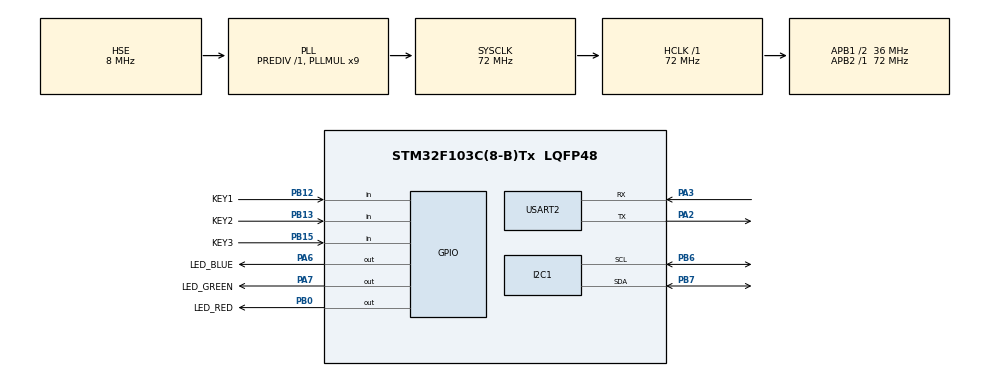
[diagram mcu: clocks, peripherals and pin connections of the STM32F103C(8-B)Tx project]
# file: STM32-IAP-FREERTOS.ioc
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FREERTOS.Tasks01=Task_LED_KEY,24,128,App_LED_KEY,Default,NULL,Dynamic,NULL,NULL;Task_OLED,8,256,App_OLED,Default,NULL,Dynamic,NULL,NULL
FREERTOS.configUSE_NEWLIB_REENTRANT=1
I2C1.I2C_Mode=I2C_Fast
Mcu.Family=STM32F1
Mcu.Name=STM32F103C(8-B)Tx
Mcu.Package=LQFP48
NVIC.PriorityGroup=NVIC_PRIORITYGROUP_4
NVIC.TIM4_IRQn=true\:15\:0\:false\:false\:true\:false\:false\:true\:true
NVIC.TimeBase=TIM4_IRQn
NVIC.TimeBaseIP=TIM4
PA13.Mode=Serial_Wire
PA13.Signal=SYS_JTMS-SWDIO
PA14.Mode=Serial_Wire
PA14.Signal=SYS_JTCK-SWCLK
PA2.Mode=Asynchronous
PA2.Signal=USART2_TX
PA3.Mode=Asynchronous
PA3.Signal=USART2_RX
PA6.GPIO_Label=LED_BLUE
PA6.Signal=GPIO_Output
PA7.GPIO_Label=LED_GREEN
PA7.Signal=GPIO_Output
PB0.GPIO_Label=LED_RED
PB0.Signal=GPIO_Output
PB12.GPIO_Label=KEY1
PB12.Signal=GPIO_Input
PB13.GPIO_Label=KEY2
PB13.GPIO_PuPd=GPIO_PULLUP
PB13.Signal=GPIO_Input
PB15.GPIO_Label=KEY3
PB15.GPIO_PuPd=GPIO_PULLUP
PB15.Signal=GPIO_Input
PB6.Mode=I2C
PB6.Signal=I2C1_SCL
PB7.Mode=I2C
PB7.Signal=I2C1_SDA
PD0-OSC_IN.Mode=HSE-External-Oscillator
PD0-OSC_IN.Signal=RCC_OSC_IN
PD1-OSC_OUT.Mode=HSE-External-Oscillator
PD1-OSC_OUT.Signal=RCC_OSC_OUT
ProjectManager.HeapSize=0x200
ProjectManager.StackSize=0x400
ProjectManager.TargetToolchain=STM32CubeIDE
RCC.ADCPresc=RCC_ADCPCLK2_DIV6
RCC.AHBFreq_Value=72000000
RCC.APB1CLKDivider=RCC_HCLK_DIV2
RCC.APB1Freq_Value=36000000
RCC.APB1TimFreq_Value=72000000
RCC.APB2Freq_Value=72000000
RCC.APB2TimFreq_Value=72000000
RCC.HCLKFreq_Value=72000000
RCC.PLLMUL=RCC_PLL_MUL9
RCC.PLLSourceVirtual=RCC_PLLSOURCE_HSE
RCC.SYSCLKFreq_VALUE=72000000
RCC.SYSCLKSource=RCC_SYSCLKSOURCE_PLLCLK
RCC.USBFreq_Value=72000000
USART2.VirtualMode=VM_ASYNC
VP_FREERTOS_VS_CMSIS_V2.Mode=CMSIS_V2
VP_SYS_VS_tim4.Mode=TIM4
board=custom

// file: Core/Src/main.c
/* USER CODE BEGIN Header */
/**
  ******************************************************************************
  * @file           : main.c
  * @brief          : Main program body
  ******************************************************************************
  * @attention
  *
  * Copyright (c) 2025 STMicroelectronics.
  * All rights reserved.
  *
  * This software is licensed under terms that can be found in the LICENSE file
  * in the root directory of this software component.
  * If no LICENSE file comes with this software, it is provided AS-IS.
  *
  ******************************************************************************
  */
/* USER CODE END Header */
#include "main.h"
#include "cmsis_os.h"
#include "i2c.h"
#include "usart.h"
#include "gpio.h"

/* USER CODE BEGIN Includes */
#include <stdio.h>
#include <string.h>
#include "bsp_key.h"
#include "bsp_led.h"
#include "oled.h"
#include "font.h"

/* USER CODE END Includes */

void SystemClock_Config(void);
void MX_FREERTOS_Init(void);

int main(void)
{

  /* USER CODE BEGIN 1 */
  // 🔄 重新启用SysTick中断，确保应用程序能使用HAL_Delay
  __enable_irq();
  /* USER CODE END 1 */

  /* MCU Configuration--------------------------------------------------------*/

  /* Reset of all peripherals, Initializes the Flash interface and the Systick. */
  HAL_Init();

  /* Configure the system clock */
  SystemClock_Config();

  /* Initialize all configured peripherals */
  MX_GPIO_Init();
  MX_USART2_UART_Init();
  MX_I2C1_Init();
  /* USER CODE BEGIN 2 */
//  HAL_Delay(20); // 单片机启动比OLED上电快,需要延迟等待一下
//  OLED_Init();
  /* USER CODE END 2 */

  /* Init scheduler */
  osKernelInitialize();  /* Call init function for freertos objects (in cmsis_os2.c) */
  MX_FREERTOS_Init();

  /* Start scheduler */
  osKernelStart();

  /* We should never get here as control is now taken by the scheduler */

  /* Infinite loop */
  while (1)
  {

  }
}

void SystemClock_Config(void)
{
  RCC_OscInitTypeDef RCC_OscInitStruct = {0};
  RCC_ClkInitTypeDef RCC_ClkInitStruct = {0};

  /** Initializes the RCC Oscillators according to the specified parameters
  * in the RCC_OscInitTypeDef structure.
  */
  RCC_OscInitStruct.OscillatorType = RCC_OSCILLATORTYPE_HSE;
  RCC_OscInitStruct.HSEState = RCC_HSE_ON;
  RCC_OscInitStruct.HSEPredivValue = RCC_HSE_PREDIV_DIV1;
  RCC_OscInitStruct.HSIState = RCC_HSI_ON;
  RCC_OscInitStruct.PLL.PLLState = RCC_PLL_ON;
  RCC_OscInitStruct.PLL.PLLSource = RCC_PLLSOURCE_HSE;
  RCC_OscInitStruct.PLL.PLLMUL = RCC_PLL_MUL9;
  if (HAL_RCC_OscConfig(&RCC_OscInitStruct) != HAL_OK)
  {
    Error_Handler();
  }

  /** Initializes the CPU, AHB and APB buses clocks
  */
  RCC_ClkInitStruct.ClockType = RCC_CLOCKTYPE_HCLK|RCC_CLOCKTYPE_SYSCLK
                              |RCC_CLOCKTYPE_PCLK1|RCC_CLOCKTYPE_PCLK2;
  RCC_ClkInitStruct.SYSCLKSource = RCC_SYSCLKSOURCE_PLLCLK;
  RCC_ClkInitStruct.AHBCLKDivider = RCC_SYSCLK_DIV1;
  RCC_ClkInitStruct.APB1CLKDivider = RCC_HCLK_DIV2;
  RCC_ClkInitStruct.APB2CLKDivider = RCC_HCLK_DIV1;

  if (HAL_RCC_ClockConfig(&RCC_ClkInitStruct, FLASH_LATENCY_2) != HAL_OK)
  {
    Error_Handler();
  }
}

void HAL_TIM_PeriodElapsedCallback(TIM_HandleTypeDef *htim)
{
  if (htim->Instance == TIM4)
  {
    HAL_IncTick();
  }
}

void Error_Handler(void)
{
  __disable_irq();
  while (1)
  {
  }
}

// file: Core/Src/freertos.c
/* USER CODE BEGIN Header */
/**
  ******************************************************************************
  * File Name          : freertos.c
  * Description        : Code for freertos applications
  ******************************************************************************
  * @attention
  *
  * Copyright (c) 2025 STMicroelectronics.
  * All rights reserved.
  *
  * This software is licensed under terms that can be found in the LICENSE file
  * in the root directory of this software component.
  * If no LICENSE file comes with this software, it is provided AS-IS.
  *
  ******************************************************************************
  */
/* USER CODE END Header */

#include "FreeRTOS.h"
#include "task.h"
#include "main.h"
#include "cmsis_os.h"

/* USER CODE BEGIN Includes */
#include <stdio.h>
#include <string.h>
#include "bsp_key.h"
#include "bsp_led.h"
#include "oled.h"
#include "font.h"
#include "usart.h"

/* USER CODE END Includes */

/* Definitions for Task_LED_KEY */
osThreadId_t Task_LED_KEYHandle;
const osThreadAttr_t Task_LED_KEY_attributes = {
  .name = "Task_LED_KEY",
  .stack_size = 128 * 4,
  .priority = (osPriority_t) osPriorityNormal,
};
/* Definitions for Task_OLED */
osThreadId_t Task_OLEDHandle;
const osThreadAttr_t Task_OLED_attributes = {
  .name = "Task_OLED",
  .stack_size = 256 * 4,
  .priority = (osPriority_t) osPriorityLow,
};

/* USER CODE BEGIN FunctionPrototypes */
void UART_SendString(const char* str)
{
    HAL_UART_Transmit(&huart2, (uint8_t*)str, strlen(str), 1000);
}
/* USER CODE END FunctionPrototypes */

void App_LED_KEY(void *argument);
void App_OLED(void *argument);

void MX_FREERTOS_Init(void); /* (MISRA C 2004 rule 8.1) */

void MX_FREERTOS_Init(void) {

  /* Create the thread(s) */
  /* creation of Task_LED_KEY */
  Task_LED_KEYHandle = osThreadNew(App_LED_KEY, NULL, &Task_LED_KEY_attributes);

  /* creation of Task_OLED */
  Task_OLEDHandle = osThreadNew(App_OLED, NULL, &Task_OLED_attributes);

}

void App_LED_KEY(void *argument)
{
  /* USER CODE BEGIN App_LED_KEY */
  /* Infinite loop */
  for(;;)
  {
	const char* iap_msg = "IAP SUCCESS...\r\n";
	UART_SendString(iap_msg);
	LED_BLUE_Toggle();
	osDelay(500);
  }
  /* USER CODE END App_LED_KEY */
}

void App_OLED(void *argument)
{
  for(;;)
  {
    osDelay(1);
  }
}
